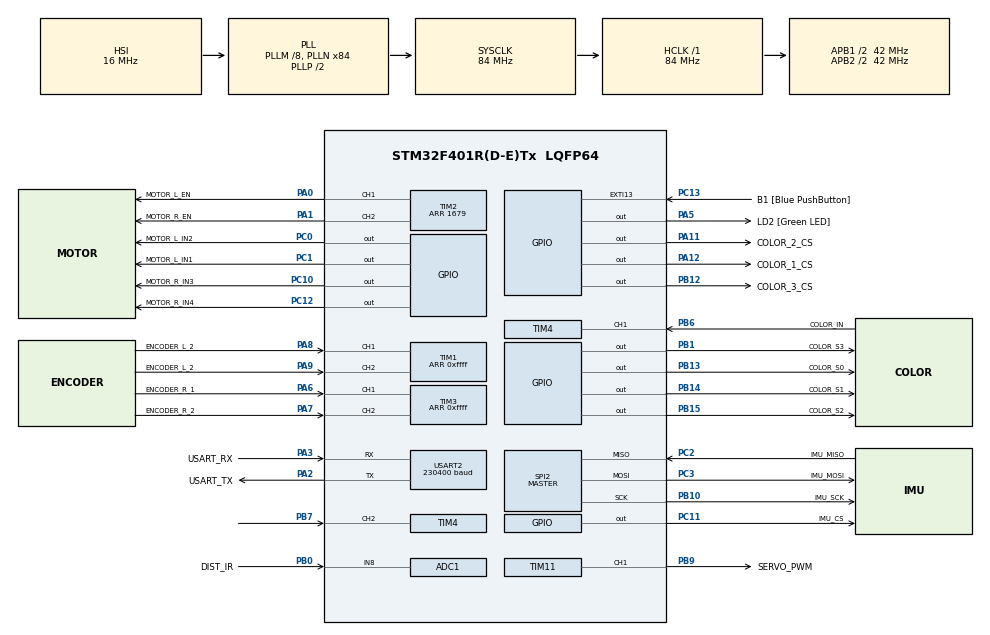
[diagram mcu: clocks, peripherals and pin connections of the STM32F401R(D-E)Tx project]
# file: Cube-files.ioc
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ADC1.Channel-8\#ChannelRegularConversion=ADC_CHANNEL_8
ADC1.ContinuousConvMode=ENABLE
ADC1.DMAContinuousRequests=ENABLE
ADC1.EOCSelection=ADC_EOC_SEQ_CONV
ADC1.NbrOfConversionFlag=1
ADC1.Rank-8\#ChannelRegularConversion=1
ADC1.SamplingTime-8\#ChannelRegularConversion=ADC_SAMPLETIME_3CYCLES
ADC1.ScanConvMode=ENABLE
ADC1.master=1
Dma.ADC1.3.Direction=DMA_PERIPH_TO_MEMORY
Dma.ADC1.3.FIFOMode=DMA_FIFOMODE_DISABLE
Dma.ADC1.3.Instance=DMA2_Stream0
Dma.ADC1.3.MemDataAlignment=DMA_MDATAALIGN_WORD
Dma.ADC1.3.MemInc=DMA_MINC_ENABLE
Dma.ADC1.3.Mode=DMA_CIRCULAR
Dma.ADC1.3.PeriphDataAlignment=DMA_PDATAALIGN_WORD
Dma.ADC1.3.PeriphInc=DMA_PINC_DISABLE
Dma.ADC1.3.Priority=DMA_PRIORITY_LOW
Dma.Request0=SPI2_RX
Dma.Request1=SPI2_TX
Dma.Request2=USART2_TX
Dma.Request3=ADC1
Dma.SPI2_RX.0.Direction=DMA_PERIPH_TO_MEMORY
Dma.SPI2_RX.0.FIFOMode=DMA_FIFOMODE_DISABLE
Dma.SPI2_RX.0.Instance=DMA1_Stream3
Dma.SPI2_RX.0.MemDataAlignment=DMA_MDATAALIGN_BYTE
Dma.SPI2_RX.0.MemInc=DMA_MINC_ENABLE
Dma.SPI2_RX.0.Mode=DMA_NORMAL
Dma.SPI2_RX.0.PeriphDataAlignment=DMA_PDATAALIGN_BYTE
Dma.SPI2_RX.0.PeriphInc=DMA_PINC_DISABLE
Dma.SPI2_RX.0.Priority=DMA_PRIORITY_VERY_HIGH
Dma.SPI2_TX.1.Direction=DMA_MEMORY_TO_PERIPH
Dma.SPI2_TX.1.FIFOMode=DMA_FIFOMODE_DISABLE
Dma.SPI2_TX.1.Instance=DMA1_Stream4
Dma.SPI2_TX.1.MemDataAlignment=DMA_MDATAALIGN_BYTE
Dma.SPI2_TX.1.MemInc=DMA_MINC_ENABLE
Dma.SPI2_TX.1.Mode=DMA_NORMAL
Dma.SPI2_TX.1.PeriphDataAlignment=DMA_PDATAALIGN_BYTE
Dma.SPI2_TX.1.PeriphInc=DMA_PINC_DISABLE
Dma.SPI2_TX.1.Priority=DMA_PRIORITY_VERY_HIGH
Dma.USART2_TX.2.Direction=DMA_MEMORY_TO_PERIPH
Dma.USART2_TX.2.FIFOMode=DMA_FIFOMODE_DISABLE
Dma.USART2_TX.2.Instance=DMA1_Stream6
Dma.USART2_TX.2.MemDataAlignment=DMA_MDATAALIGN_BYTE
Dma.USART2_TX.2.MemInc=DMA_MINC_ENABLE
Dma.USART2_TX.2.Mode=DMA_NORMAL
Dma.USART2_TX.2.PeriphDataAlignment=DMA_PDATAALIGN_BYTE
Dma.USART2_TX.2.PeriphInc=DMA_PINC_DISABLE
Dma.USART2_TX.2.Priority=DMA_PRIORITY_LOW
FREERTOS.INCLUDE_vTaskDelayUntil=1
FREERTOS.Mutexes01=poseMutex,Dynamic,NULL
FREERTOS.Tasks01=mainTaskName,2,1024,mainTask,As weak,NULL,Dynamic,NULL,NULL;printTaskName,-2,256,printTask,As external,NULL,Dynamic,NULL,NULL;poseTaskName,0,1500,poseTask,As external,NULL,Dynamic,NULL,NULL;controlTaskName,1,512,controlTask,As external,NULL,Dynamic,NULL,NULL
FREERTOS.configCHECK_FOR_STACK_OVERFLOW=0
FREERTOS.configENABLE_FPU=0
FREERTOS.configGENERATE_RUN_TIME_STATS=0
FREERTOS.configRECORD_STACK_HIGH_ADDRESS=1
FREERTOS.configTIMER_TASK_STACK_DEPTH=128
FREERTOS.configUSE_CO_ROUTINES=1
FREERTOS.configUSE_TIMERS=1
Mcu.Family=STM32F4
Mcu.Name=STM32F401R(D-E)Tx
Mcu.Package=LQFP64
NVIC.ADC_IRQn=true\:5\:0\:false\:false\:true\:true\:true\:true\:true
NVIC.DMA1_Stream3_IRQn=true\:5\:0\:false\:false\:true\:true\:false\:true\:true
NVIC.DMA1_Stream4_IRQn=true\:5\:0\:false\:false\:true\:true\:false\:true\:true
NVIC.DMA1_Stream6_IRQn=true\:5\:0\:false\:false\:true\:true\:false\:true\:true
NVIC.DMA2_Stream0_IRQn=true\:5\:0\:false\:false\:true\:true\:false\:true\:true
NVIC.EXTI15_10_IRQn=true\:6\:0\:true\:false\:true\:true\:true\:true\:true
NVIC.PriorityGroup=NVIC_PRIORITYGROUP_4
NVIC.TIM1_UP_TIM10_IRQn=true\:0\:0\:true\:false\:true\:false\:true\:true\:true
NVIC.TIM2_IRQn=true\:5\:0\:true\:false\:true\:true\:true\:true\:true
NVIC.TIM3_IRQn=true\:5\:0\:false\:false\:true\:true\:true\:true\:true
NVIC.TimeBase=TIM1_UP_TIM10_IRQn
NVIC.TimeBaseIP=TIM10
NVIC.USART2_IRQn=true\:5\:0\:false\:false\:true\:true\:true\:true\:true
PA0-WKUP.GPIO_Label=MOTOR_L_EN
PA0-WKUP.GPIO_Speed=GPIO_SPEED_FREQ_HIGH
PA0-WKUP.Signal=S_TIM2_CH1_ETR
PA1.GPIO_Label=MOTOR_R_EN
PA1.GPIO_Speed=GPIO_SPEED_FREQ_HIGH
PA1.Signal=S_TIM2_CH2
PA11.GPIO_Label=COLOR_2_CS
PA11.GPIO_Speed=GPIO_SPEED_FREQ_VERY_HIGH
PA11.PinState=GPIO_PIN_SET
PA11.Signal=GPIO_Output
PA12.GPIO_Label=COLOR_1_CS
PA12.GPIO_Speed=GPIO_SPEED_FREQ_VERY_HIGH
PA12.PinState=GPIO_PIN_SET
PA12.Signal=GPIO_Output
PA13.GPIO_Label=TMS
PA13.Mode=Serial_Wire
PA13.Signal=SYS_JTMS-SWDIO
PA14.GPIO_Label=TCK
PA14.Mode=Serial_Wire
PA14.Signal=SYS_JTCK-SWCLK
PA2.GPIO_Label=USART_TX
PA2.GPIO_Mode=GPIO_MODE_AF_PP
PA2.GPIO_PuPd=GPIO_NOPULL
PA2.GPIO_Speed=GPIO_SPEED_FREQ_LOW
PA2.Mode=Asynchronous
PA2.Signal=USART2_TX
PA3.GPIO_Label=USART_RX
PA3.GPIO_Mode=GPIO_MODE_AF_PP
PA3.GPIO_PuPd=GPIO_NOPULL
PA3.GPIO_Speed=GPIO_SPEED_FREQ_LOW
PA3.Mode=Asynchronous
PA3.Signal=USART2_RX
PA5.GPIO_Label=LD2 [Green LED]
PA5.Signal=GPIO_Output
PA6.GPIO_Label=ENCODER_R_1
PA6.Signal=S_TIM3_CH1
PA7.GPIO_Label=ENCODER_R_2
PA7.Signal=S_TIM3_CH2
PA8.GPIO_Label=ENCODER_L_2
PA8.Signal=S_TIM1_CH1
PA9.GPIO_Label=ENCODER_L_2
PA9.Signal=S_TIM1_CH2
PB0.GPIO_Label=DIST_IR
PB0.Signal=ADCx_IN8
PB1.GPIO_Label=COLOR_S3
PB1.Signal=GPIO_Output
PB10.GPIO_Label=IMU_SCK
PB10.GPIO_PuPd=GPIO_NOPULL
PB10.Mode=Full_Duplex_Master
PB10.Signal=SPI2_SCK
PB12.GPIO_Label=COLOR_3_CS
PB12.GPIO_PuPd=GPIO_PULLUP
PB12.GPIO_Speed=GPIO_SPEED_FREQ_VERY_HIGH
PB12.PinState=GPIO_PIN_SET
PB12.Signal=GPIO_Output
PB13.GPIO_Label=COLOR_S0
PB13.GPIO_PuPd=GPIO_PULLUP
PB13.PinState=GPIO_PIN_SET
PB13.Signal=GPIO_Output
PB14.GPIO_Label=COLOR_S1
PB14.GPIO_PuPd=GPIO_PULLUP
PB14.PinState=GPIO_PIN_SET
PB14.Signal=GPIO_Output
PB15.GPIO_Label=COLOR_S2
PB15.Signal=GPIO_Output
PB3.GPIO_Label=SWO
PB3.Signal=SYS_JTDO-SWO
PB6.GPIO_Label=COLOR_IN
PB6.Signal=S_TIM4_CH1
PB7.GPIO_PuPd=GPIO_PULLDOWN
PB7.Signal=S_TIM4_CH2
PB9.GPIO_Label=SERVO_PWM
PB9.GPIO_Speed=GPIO_SPEED_FREQ_VERY_HIGH
PB9.Signal=S_TIM11_CH1
PC0.GPIO_Label=MOTOR_L_IN2
PC0.GPIO_Speed=GPIO_SPEED_FREQ_VERY_HIGH
PC0.Signal=GPIO_Output
PC1.GPIO_Label=MOTOR_L_IN1
PC1.GPIO_Speed=GPIO_SPEED_FREQ_VERY_HIGH
PC1.Signal=GPIO_Output
PC10.GPIO_Label=MOTOR_R_IN3
PC10.GPIO_Speed=GPIO_SPEED_FREQ_VERY_HIGH
PC10.Signal=GPIO_Output
PC11.GPIO_Label=IMU_CS
PC11.GPIO_ModeDefaultOutputPP=GPIO_MODE_OUTPUT_PP
PC11.GPIO_PuPd=GPIO_PULLUP
PC11.GPIO_Speed=GPIO_SPEED_FREQ_VERY_HIGH
PC11.PinState=GPIO_PIN_SET
PC11.Signal=GPIO_Output
PC12.GPIO_Label=MOTOR_R_IN4
PC12.GPIO_Speed=GPIO_SPEED_FREQ_VERY_HIGH
PC12.Signal=GPIO_Output
PC13-ANTI_TAMP.GPIO_Label=B1 [Blue PushButton]
PC13-ANTI_TAMP.GPIO_ModeDefaultEXTI=GPIO_MODE_IT_FALLING
PC13-ANTI_TAMP.GPIO_PuPd=GPIO_NOPULL
PC13-ANTI_TAMP.Signal=GPXTI13
PC14-OSC32_IN.Mode=LSE-External-Oscillator
PC14-OSC32_IN.Signal=RCC_OSC32_IN
PC15-OSC32_OUT.Mode=LSE-External-Oscillator
PC15-OSC32_OUT.Signal=RCC_OSC32_OUT
PC2.GPIO_Label=IMU_MISO
PC2.Mode=Full_Duplex_Master
PC2.Signal=SPI2_MISO
PC3.GPIO_Label=IMU_MOSI
PC3.GPIO_PuPd=GPIO_PULLUP
PC3.Mode=Full_Duplex_Master
PC3.Signal=SPI2_MOSI
PH0\ -\ OSC_IN.Mode=HSE-External-Oscillator
PH0\ -\ OSC_IN.Signal=RCC_OSC_IN
PH1\ -\ OSC_OUT.Mode=HSE-External-Oscillator
PH1\ -\ OSC_OUT.Signal=RCC_OSC_OUT
ProjectManager.HeapSize=0x400
ProjectManager.StackSize=0x3000
ProjectManager.TargetToolchain=Makefile
RCC.48MHZClocksFreq_Value=24000000
RCC.AHBFreq_Value=84000000
RCC.APB1CLKDivider=RCC_HCLK_DIV2
RCC.APB1Freq_Value=42000000
RCC.APB1TimFreq_Value=84000000
RCC.APB2CLKDivider=RCC_HCLK_DIV2
RCC.APB2Freq_Value=42000000
RCC.APB2TimFreq_Value=84000000
RCC.CortexFreq_Value=84000000
RCC.HCLKFreq_Value=84000000
RCC.HSE_VALUE=8000000
RCC.HSI_VALUE=16000000
RCC.PLLM=8
RCC.PLLN=84
RCC.PLLQ=7
RCC.SYSCLKFreq_VALUE=84000000
RCC.SYSCLKSource=RCC_SYSCLKSOURCE_PLLCLK
RCC.VCOOutputFreq_Value=168000000
SH.ADCx_IN8.0=ADC1_IN8,IN8
SH.S_TIM11_CH1.0=TIM11_CH1,PWM Generation1 CH1
SH.S_TIM1_CH1.0=TIM1_CH1,Encoder_Interface
SH.S_TIM1_CH2.0=TIM1_CH2,Encoder_Interface
SH.S_TIM2_CH1_ETR.0=TIM2_CH1,PWM Generation1 CH1
SH.S_TIM2_CH2.0=TIM2_CH2,PWM Generation2 CH2
SH.S_TIM3_CH1.0=TIM3_CH1,Encoder_Interface
SH.S_TIM3_CH2.0=TIM3_CH2,Encoder_Interface
SH.S_TIM4_CH1.0=TIM4_CH1,Encoder_Interface
SH.S_TIM4_CH2.0=TIM4_CH2,Encoder_Interface
SPI2.BaudRatePrescaler=SPI_BAUDRATEPRESCALER_32
SPI2.CLKPhase=SPI_PHASE_2EDGE
SPI2.CLKPolarity=SPI_POLARITY_HIGH
SPI2.Direction=SPI_DIRECTION_2LINES
SPI2.Mode=SPI_MODE_MASTER
SPI2.VirtualType=VM_MASTER
STMicroelectronics.X-CUBE-ALGOBUILD.1.3.0.LibraryCcDSPOoLibraryJjDSPOoLibrary=true
TIM1.AutoReloadPreload=TIM_AUTORELOAD_PRELOAD_ENABLE
TIM1.CounterMode=TIM_COUNTERMODE_UP
TIM1.EncoderMode=TIM_ENCODERMODE_TI12
TIM1.IC1Filter=0
TIM1.Period=0xffff
TIM1.TIM_MasterOutputTrigger=TIM_TRGO_RESET
TIM11.AutoReloadPreload=TIM_AUTORELOAD_PRELOAD_ENABLE
TIM11.Channel=TIM_CHANNEL_1
TIM11.Period=59999
TIM11.Prescaler=27
TIM2.AutoReloadPreload=TIM_AUTORELOAD_PRELOAD_ENABLE
TIM2.Channel-PWM\ Generation1\ CH1=TIM_CHANNEL_1
TIM2.Channel-PWM\ Generation2\ CH2=TIM_CHANNEL_2
TIM2.ClockDivision=TIM_CLOCKDIVISION_DIV1
TIM2.OCFastMode_PWM-PWM\ Generation1\ CH1=TIM_OCFAST_DISABLE
TIM2.OCFastMode_PWM-PWM\ Generation2\ CH2=TIM_OCFAST_DISABLE
TIM2.Period=1679
TIM3.AutoReloadPreload=TIM_AUTORELOAD_PRELOAD_ENABLE
TIM3.CounterMode=TIM_COUNTERMODE_UP
TIM3.EncoderMode=TIM_ENCODERMODE_TI12
TIM3.IC1Polarity=TIM_ICPOLARITY_RISING
TIM3.IC2Polarity=TIM_ICPOLARITY_RISING
TIM3.Period=0xffff
USART2.BaudRate=230400
USART2.VirtualMode=VM_ASYNC
VP_FREERTOS_VS_CMSIS_V1.Mode=CMSIS_V1
VP_STMicroelectronics.X-CUBE-ALGOBUILD_VS_DSPOoLibraryJjLibrary_1.3.0_1.3.0.Mode=DSPOoLibraryJjLibrary
VP_SYS_VS_tim10.Mode=TIM10
VP_TIM11_VS_ClockSourceINT.Mode=Enable_Timer
board=NUCLEO-F401RE

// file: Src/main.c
/* USER CODE BEGIN Header */
/**
  ******************************************************************************
  * @file           : main.c
  * @brief          : Main program body
  ******************************************************************************
  * @attention
  *
  * Copyright (c) 2023 STMicroelectronics.
  * All rights reserved.
  *
  * This software is licensed under terms that can be found in the LICENSE file
  * in the root directory of this software component.
  * If no LICENSE file comes with this software, it is provided AS-IS.
  *
  ******************************************************************************
  */
/* USER CODE END Header */
#include "main.h"
#include "cmsis_os.h"
#include "adc.h"
#include "dma.h"
#include "spi.h"
#include "tim.h"
#include "usart.h"
#include "gpio.h"

/* USER CODE BEGIN Includes */
#include "userInit.h"
#include "backtrace.h"
#include "debug.h"
#include "bsp.h"
#include "encoders.h"
/* USER CODE END Includes */

void SystemClock_Config(void);
void MX_FREERTOS_Init(void);

int main(void)
{

  /* MCU Configuration--------------------------------------------------------*/

  /* Reset of all peripherals, Initializes the Flash interface and the Systick. */
  HAL_Init();

  /* Configure the system clock */
  SystemClock_Config();

  /* Initialize all configured peripherals */
  MX_GPIO_Init();
  MX_DMA_Init();
  MX_USART2_UART_Init();
  MX_ADC1_Init();
  MX_SPI2_Init();
  MX_TIM4_Init();
  MX_TIM11_Init();
  MX_TIM2_Init();
  MX_TIM1_Init();
  MX_TIM3_Init();
  /* USER CODE BEGIN 2 */
  userInit();
  /* USER CODE END 2 */

  /* Call init function for freertos objects (in freertos.c) */
  MX_FREERTOS_Init();

  /* Start scheduler */
  osKernelStart();

  /* We should never get here as control is now taken by the scheduler */
  /* Infinite loop */
  while (1)
  {

  }
}

void SystemClock_Config(void)
{
  RCC_OscInitTypeDef RCC_OscInitStruct = {0};
  RCC_ClkInitTypeDef RCC_ClkInitStruct = {0};

  /** Configure the main internal regulator output voltage
  */
  __HAL_RCC_PWR_CLK_ENABLE();
  __HAL_PWR_VOLTAGESCALING_CONFIG(PWR_REGULATOR_VOLTAGE_SCALE2);

  /** Initializes the RCC Oscillators according to the specified parameters
  * in the RCC_OscInitTypeDef structure.
  */
  RCC_OscInitStruct.OscillatorType = RCC_OSCILLATORTYPE_HSI;
  RCC_OscInitStruct.HSIState = RCC_HSI_ON;
  RCC_OscInitStruct.HSICalibrationValue = RCC_HSICALIBRATION_DEFAULT;
  RCC_OscInitStruct.PLL.PLLState = RCC_PLL_ON;
  RCC_OscInitStruct.PLL.PLLSource = RCC_PLLSOURCE_HSI;
  RCC_OscInitStruct.PLL.PLLM = 8;
  RCC_OscInitStruct.PLL.PLLN = 84;
  RCC_OscInitStruct.PLL.PLLP = RCC_PLLP_DIV2;
  RCC_OscInitStruct.PLL.PLLQ = 7;
  if (HAL_RCC_OscConfig(&RCC_OscInitStruct) != HAL_OK)
  {
    Error_Handler();
  }

  /** Initializes the CPU, AHB and APB buses clocks
  */
  RCC_ClkInitStruct.ClockType = RCC_CLOCKTYPE_HCLK|RCC_CLOCKTYPE_SYSCLK
                              |RCC_CLOCKTYPE_PCLK1|RCC_CLOCKTYPE_PCLK2;
  RCC_ClkInitStruct.SYSCLKSource = RCC_SYSCLKSOURCE_PLLCLK;
  RCC_ClkInitStruct.AHBCLKDivider = RCC_SYSCLK_DIV1;
  RCC_ClkInitStruct.APB1CLKDivider = RCC_HCLK_DIV2;
  RCC_ClkInitStruct.APB2CLKDivider = RCC_HCLK_DIV2;

  if (HAL_RCC_ClockConfig(&RCC_ClkInitStruct, FLASH_LATENCY_2) != HAL_OK)
  {
    Error_Handler();
  }
}

void HAL_TIM_PeriodElapsedCallback(TIM_HandleTypeDef *htim)
{
  /* USER CODE BEGIN Callback 0 */
  if (htim->Instance == ENCODER_TIMER_LEFT_INSTANCE) {
    encoderHandleOverflow(ENCODER_LEFT, htim);
  }
  if (htim->Instance == ENCODER_TIMER_RIGHT_INSTANCE) {
    encoderHandleOverflow(ENCODER_RIGHT, htim);
  }

  if (htim->Instance == COLOR_TIMER_INSTANCE) {
    // for some reason we need it to be a function call not jsut static assignment
    volatile char a = HAL_GetTickFreq(); // god knows why this line is needed. Without it, the color sensors don't work
  }
  /* USER CODE END Callback 0 */
  if (htim->Instance == TIM10) {
    HAL_IncTick();
  }
}

void Error_Handler(void)
{
  /* USER CODE BEGIN Error_Handler_Debug */
  /* User can add his own implementation to report the HAL error return state */
  // __disable_irq();

  _handleError(__FILE__, __LINE__);

  while (1)
  {
    HAL_GPIO_TogglePin(LD2_GPIO_Port, LD2_Pin);
    HAL_Delay(50);
  }
  /* USER CODE END Error_Handler_Debug */
}

#ifdef  USE_FULL_ASSERT
/**
  * @brief  Reports the name of the source file and the source line number
  *         where the assert_param error has occurred.
  * @param  file: pointer to the source file name
  * @param  line: assert_param error line source number
  * @retval None
  */
void assert_failed(uint8_t *file, uint32_t line)
{
  /* USER CODE BEGIN 6 */
  /* User can add his own implementation to report the file name and line number,
     ex: printf("Wrong parameters value: file %s on line %d\r\n", file, line) */
  Error_Handler();
  /* USER CODE END 6 */
}
#endif /* USE_FULL_ASSERT */

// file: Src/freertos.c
/* USER CODE BEGIN Header */
/**
  ******************************************************************************
  * File Name          : freertos.c
  * Description        : Code for freertos applications
  ******************************************************************************
  * @attention
  *
  * Copyright (c) 2023 STMicroelectronics.
  * All rights reserved.
  *
  * This software is licensed under terms that can be found in the LICENSE file
  * in the root directory of this software component.
  * If no LICENSE file comes with this software, it is provided AS-IS.
  *
  ******************************************************************************
  */
/* USER CODE END Header */

#include "FreeRTOS.h"
#include "task.h"
#include "main.h"
#include "cmsis_os.h"

osThreadId mainTaskNameHandle;
osThreadId printTaskNameHandle;
osThreadId poseTaskNameHandle;
osThreadId controlTaskNameHandle;
osMutexId poseMutexHandle;

void mainTask(void const * argument);
extern void printTask(void const * argument);
extern void poseTask(void const * argument);
extern void controlTask(void const * argument);

void MX_FREERTOS_Init(void); /* (MISRA C 2004 rule 8.1) */

/* GetIdleTaskMemory prototype (linked to static allocation support) */
void vApplicationGetIdleTaskMemory( StaticTask_t **ppxIdleTaskTCBBuffer, StackType_t **ppxIdleTaskStackBuffer, uint32_t *pulIdleTaskStackSize );

/* GetTimerTaskMemory prototype (linked to static allocation support) */
void vApplicationGetTimerTaskMemory( StaticTask_t **ppxTimerTaskTCBBuffer, StackType_t **ppxTimerTaskStackBuffer, uint32_t *pulTimerTaskStackSize );

/* USER CODE BEGIN GET_IDLE_TASK_MEMORY */
static StaticTask_t xIdleTaskTCBBuffer;
static StackType_t xIdleStack[configMINIMAL_STACK_SIZE];

void vApplicationGetIdleTaskMemory( StaticTask_t **ppxIdleTaskTCBBuffer, StackType_t **ppxIdleTaskStackBuffer, uint32_t *pulIdleTaskStackSize )
{
  *ppxIdleTaskTCBBuffer = &xIdleTaskTCBBuffer;
  *ppxIdleTaskStackBuffer = &xIdleStack[0];
  *pulIdleTaskStackSize = configMINIMAL_STACK_SIZE;
  /* place for user code */
}
/* USER CODE END GET_IDLE_TASK_MEMORY */

/* USER CODE BEGIN GET_TIMER_TASK_MEMORY */
static StaticTask_t xTimerTaskTCBBuffer;
static StackType_t xTimerStack[configTIMER_TASK_STACK_DEPTH];

void vApplicationGetTimerTaskMemory( StaticTask_t **ppxTimerTaskTCBBuffer, StackType_t **ppxTimerTaskStackBuffer, uint32_t *pulTimerTaskStackSize )
{
  *ppxTimerTaskTCBBuffer = &xTimerTaskTCBBuffer;
  *ppxTimerTaskStackBuffer = &xTimerStack[0];
  *pulTimerTaskStackSize = configTIMER_TASK_STACK_DEPTH;
  /* place for user code */
}
/* USER CODE END GET_TIMER_TASK_MEMORY */

void MX_FREERTOS_Init(void) {
  /* Create the mutex(es) */
  /* definition and creation of poseMutex */
  osMutexDef(poseMutex);
  poseMutexHandle = osMutexCreate(osMutex(poseMutex));

  /* Create the thread(s) */
  /* definition and creation of mainTaskName */
  osThreadDef(mainTaskName, mainTask, osPriorityHigh, 0, 1024);
  mainTaskNameHandle = osThreadCreate(osThread(mainTaskName), NULL);

  /* definition and creation of printTaskName */
  osThreadDef(printTaskName, printTask, osPriorityLow, 0, 256);
  printTaskNameHandle = osThreadCreate(osThread(printTaskName), NULL);

  /* definition and creation of poseTaskName */
  osThreadDef(poseTaskName, poseTask, osPriorityNormal, 0, 1500);
  poseTaskNameHandle = osThreadCreate(osThread(poseTaskName), NULL);

  /* definition and creation of controlTaskName */
  osThreadDef(controlTaskName, controlTask, osPriorityAboveNormal, 0, 512);
  controlTaskNameHandle = osThreadCreate(osThread(controlTaskName), NULL);

}

__weak void mainTask(void const * argument)
{
  for(;;)
  {
    osDelay(1);
  }
}
